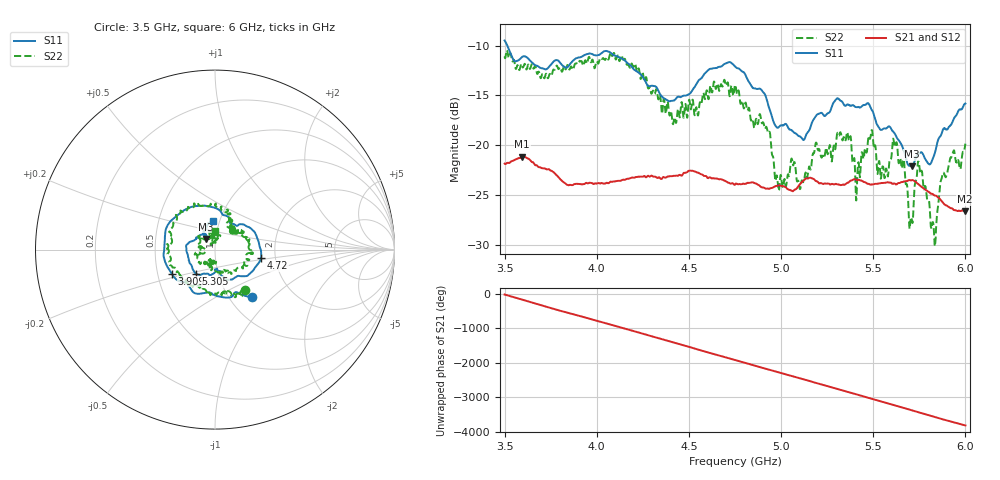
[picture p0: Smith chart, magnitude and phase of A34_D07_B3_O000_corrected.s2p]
! Created with skrf 1.9.0 (http://scikit-rf.org).
# Hz S RI R 50.0
!freq ReS11 ImS11 ReS21 ImS21 ReS12 ImS12 ReS22 ImS22
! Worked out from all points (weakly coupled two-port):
!   1601 points, 3.5 GHz to 6 GHz, reference 50 ohm
!   highest |S21| = -21.16 dB at 3.595 GHz (marker M1); lowest = -26.6 dB at 5.995 GHz (marker M2)
!   lowest |S11| = -22.1 dB at 5.709 GHz (marker M3), VSWR 1.17, Z = 44.7 + j5.27 ohm
!   |S11| at or under -10 dB: 3.515 GHz to end of sweep
!   |S22| runs from -30.1 to -10.5 dB; largest |S21 - S12| = 0.00096
!   S11 on the Smith chart (normalised r, x): 3.5 GHz: 1.27, -0.76; 3.909 GHz: 0.59, -0.17; 4.72 GHz: 1.68, -0.17; 5.305 GHz: 0.78, -0.22; 6 GHz: 0.93, +0.31
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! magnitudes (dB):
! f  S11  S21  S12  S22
! 3.5 GHz  -9.5  -21.9  -21.8  -11.1
! 3.595 GHz  -11.1  -21.2  -21.2  -12.1
! 3.909 GHz  -11.2  -23.9  -23.9  -11.6
! 3.917 GHz  -11.1  -23.9  -23.9  -11.6
! 4.334 GHz  -14.5  -23.2  -23.2  -15.4
! 4.422 GHz  -15.5  -23.1  -23.1  -17.2
! 4.72 GHz  -11.7  -23.8  -23.8  -15.1
! 4.75 GHz  -12.1  -24.0  -23.9  -14.0
! 4.93 GHz  -15.9  -24.4  -24.3  -18.7
! 4.98 GHz  -18.2  -24.1  -24.1  -23.4
! 5.167 GHz  -17.7  -23.3  -23.3  -21.5
! 5.305 GHz  -15.3  -23.9  -23.9  -18.8
! 5.416 GHz  -16.2  -23.5  -23.5  -22.3
! 5.484 GHz  -16.2  -23.9  -23.9  -19.2
! 5.584 GHz  -18.1  -23.7  -23.7  -22.3
! 5.619 GHz  -18.9  -23.9  -23.9  -20.2
! 5.709 GHz  -22.1  -23.5  -23.5  -27.5
! 5.753 GHz  -20.8  -24.0  -24.0  -22.5
! 5.83 GHz  -21.0  -25.0  -25.0  -28.7
! 5.875 GHz  -18.6  -25.7  -25.6  -23.0
! 5.995 GHz  -15.9  -26.6  -26.5  -20.4
! 6 GHz  -15.8  -26.6  -26.6  -19.8
